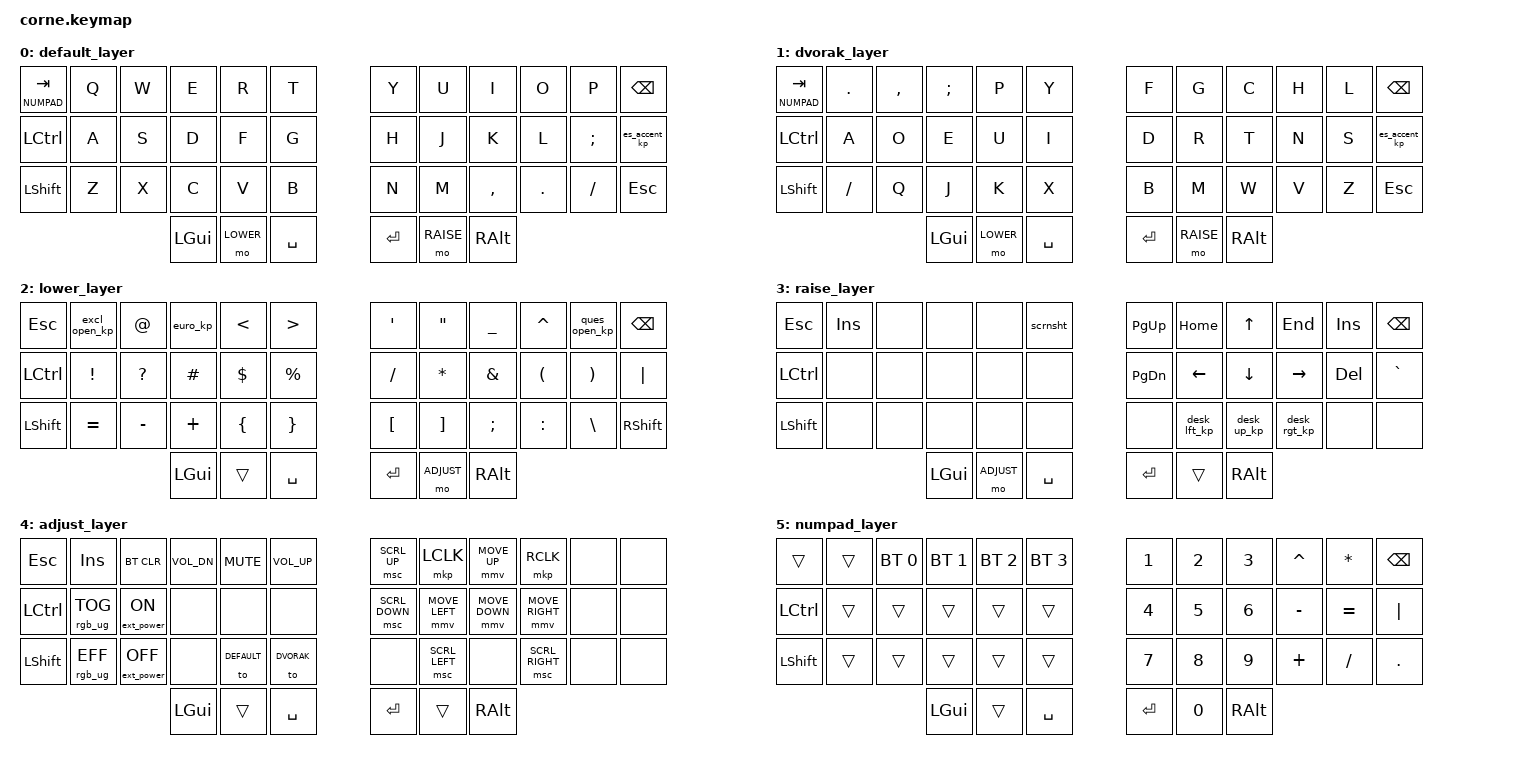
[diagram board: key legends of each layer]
/*
 * Copyright (c) 2020 The ZMK Contributors
 *
 * SPDX-License-Identifier: MIT
 */

#include <behaviors.dtsi>
#include <dt-bindings/zmk/keys.h>
#include <dt-bindings/zmk/bt.h>
#include <dt-bindings/zmk/matrix_transform.h>
#include <dt-bindings/zmk/outputs.h>
#include <dt-bindings/zmk/rgb.h>
#include <dt-bindings/zmk/pointing.h>

/* LAYERS */

#define DEFAULT 0
#define DVORAK  1
#define LOWER   2
#define RAISE   3
#define ADJUST  4
#define NUMPAD  5


/* MACROS */
#define ES_NTIL SEMI
#define ES_TILD SQT
#define ES_LT RS(COMMA)
#define ES_GT TILDE

#define OP_TERM &kp LC(LG(LA(SLASH))) // open terminal iTerm2 in current directory for MacOS

/ {
        
        macros {
             scrnsht: scrnsht {
                label = "ZM_SCREENSHOOT_KP";
                compatible = "zmk,behavior-macro";
                #binding-cells = <0>;
                wait-ms = <0>;
                tap-ms = <10>;
                bindings
                        = <&macro_press &kp LSHFT &kp LGUI>
                        , <&macro_tap &kp N4>
                        , <&macro_release &kp LSHFT &kp LGUI>
                        ;
              };


              euro_kp: euro_kp {
                label = "ZM_EURO_KP";
                compatible = "zmk,behavior-macro";
                #binding-cells = <0>;
                wait-ms = <0>;
                tap-ms = <10>;
                bindings
                        = <&macro_press &kp LALT &kp LSHFT>
                        , <&macro_tap &kp N2>
                        , <&macro_release &kp LALT &kp LSHFT>
                        ;
              };


              excl_open_kp: excl_open_kp {
                label = "ZM_EXCL_OPEN_KP";
                compatible = "zmk,behavior-macro";
                #binding-cells = <0>;
                wait-ms = <0>;
                tap-ms = <10>;
                bindings
                        = <&macro_press &kp LALT>
                        , <&macro_tap &kp N1>
                        , <&macro_release &kp LALT>
                        ;
              };


              ques_open_kp: ques_open_kp {
                label = "ZM_QUES_OPEN_KP";
                compatible = "zmk,behavior-macro";
                #binding-cells = <0>;
                wait-ms = <0>;
                tap-ms = <10>;
                bindings
                        = <&macro_press &kp LALT &kp LSHFT>
                        , <&macro_tap &kp FSLH>
                        , <&macro_release &kp LALT &kp LSHFT>
                        ;
              };

              es_accent_kp: es_accent_kp {
                label = "ZM_ES_ACCENT_KP";
                compatible = "zmk,behavior-macro";
                #binding-cells = <0>;
                wait-ms = <0>;
                tap-ms = <10>;
                bindings
                        = <&macro_press &kp LALT>
                        , <&macro_tap &kp E>
                        , <&macro_release &kp LALT>
                        ;
              };

               desk_lft_kp: desk_lft_kp {
                label = "ZM_DESK_LFT_KP";
                compatible = "zmk,behavior-macro";
                #binding-cells = <0>;
                wait-ms = <0>;
                tap-ms = <10>;
                bindings
                        = <&macro_press &kp LCTRL>
                        , <&macro_tap &kp LEFT>
                        , <&macro_release &kp LCTRL>
                        ;
              };

              desk_rgt_kp: desk_rgt_kp {
                label = "ZM_DESK_RGT_KP";
                compatible = "zmk,behavior-macro";
                #binding-cells = <0>;
                wait-ms = <0>;
                tap-ms = <10>;
                bindings
                        = <&macro_press &kp LCTRL>
                        , <&macro_tap &kp RIGHT>
                        , <&macro_release &kp LCTRL>
                        ;
              };

              desk_up_kp: desk_up_kp {
                label = "ZM_DESK_UP_KP";
                compatible = "zmk,behavior-macro";
                #binding-cells = <0>;
                wait-ms = <0>;
                tap-ms = <10>;
                bindings
                        = <&macro_press &kp LCTRL>
                        , <&macro_tap &kp UP>
                        , <&macro_release &kp LCTRL>
                        ;
              };
              
        };
        
        
        keymap {
                compatible = "zmk,keymap";

                default_layer {
 /*
 * QWERTY
 * ,------+------+------+------+------+------|                    |------+------+------+------+------+------|
 * |TABNUM|   Q  |   W  |   E  |   R  |   T  |                    |   Y  |   U  |   I  |   O  |   P  |BCKSPC|
 * |------+------+------+------+------+------|                    |------+------+------+------+------+------|
 * | CTRL |   A  |   S  |   D  |   F  |   G  |                    |   H  |   J  |   K  |   L  |  ;:  |   ´  |
 * |------+------+------+------+------+------|                    |------+------+------+------+------+------|
 * | SHFT |   Z  |   X  |   C  |   V  |   B  |                    |   N  |   M  |   ,  |   .  |   /  | ESC  |
 * `-----------------------------------------|                    |-----------------------------------------'
 *                    | LGUI | LOWER | Space |                    | Enter | RAISE | RALT |
 *                    `----------------------'                    '----------------------'
 */

                        bindings = <
   &lt NUMPAD TAB   &kp Q &kp W &kp E &kp R  &kp T           &kp Y &kp U  &kp I      &kp O    &kp P     &kp BSPC
   &kp LCTRL        &kp A &kp S &kp D &kp F  &kp G           &kp H &kp J  &kp K      &kp L    &kp SEMI  &es_accent_kp
   &kp LSHFT        &kp Z &kp X &kp C &kp V  &kp B           &kp N &kp M  &kp COMMA  &kp DOT  &kp FSLH  &kp ESC
                          &kp LGUI &mo LOWER &kp SPACE      &kp RET &mo RAISE &kp RALT
                        >;
                };

                dvorak_layer {
 /*
 * DVORAK
 * ,------+------+------+------+------+------|                    |------+------+------+------+------+------|
 * |TABNUM|   .  |   ,  |  ;:  |   P  |   Y  |                    |   F  |   G  |   C  |   H  |   L  |BCKSPC|
 * |------+------+------+------+------+------|                    |------+------+------+------+------+------|
 * | CTRL |   A  |   O  |   E  |   U  |   I  |                    |   D  |   R  |   T  |   N  |   S  |   ´  |
 * |------+------+------+------+------+------|                    |------+------+------+------+------+------|
 * | SHFT |   /  |   Q  |   J  |   K  |   X  |                    |   B  |   M  |   W  |   V  |   Z  | ESC  |
 * `-----------------------------------------|                    |-----------------------------------------'
 *                    | LGUI | LOWER | Space |                    | Enter | RAISE | RALT |
 *                    `----------------------'                    '----------------------'
 */

                        bindings = <
   &lt NUMPAD TAB   &kp DOT  &kp COMMA &kp SEMI &kp P  &kp Y       &kp F &kp G  &kp C  &kp H  &kp L  &kp BSPC
   &kp LCTRL        &kp A    &kp O     &kp E    &kp U  &kp I       &kp D &kp R  &kp T  &kp N  &kp S  &es_accent_kp
   &kp LSHFT        &kp FSLH &kp Q     &kp J    &kp K  &kp X       &kp B &kp M  &kp W  &kp V  &kp Z  &kp ESC
                                 &kp LGUI &mo LOWER &kp SPACE     &kp RET &mo RAISE &kp RALT
                        >;
                };


                lower_layer {
 /* LOWER
 * ,-----------------------------------------.                    ,-----------------------------------------.
 * |  ESC |   ¡  |   @  |   €  |   <  |   >  |                    |   '  |   "  |   _  |   ^  |   ¿  | Bspc |
 * |------+------+------+------+------+------|                    |------+------+------+------+------+------|
 * | LCTR |   !  |   ?  |   #  |   $  |   %  |                    |   /  |   *  |   &  |   (  |   )  |   |  |
 * |------+------+------+------+------+------|                    |------+------+------+------+------+------|
 * | SHFT |  =   |  -   |  +   |   {  |   }  |                    |   [  |   ]  |   ;  |   :  |   \  | Shift|
 * `-----------------------------------------|                    |-----------------------------------------'
 *                    | LGUI | LOWER | Space |                    | Enter | RAISE | RAlt |
 *                    `----------------------'                    '----------------------'
 */


                        bindings = <
   &kp ESC    &excl_open_kp  &kp AT       &euro_kp  &kp LT  &kp GT          &kp SQT   &kp DQT   &kp UNDER     &kp CARET &ques_open_kp &kp BSPC
   &kp LCTRL  &kp EXCL       &kp QUESTION &kp HASH  &kp DLLR &kp PERCENT    &kp SLASH &kp STAR  &kp AMPS      &kp LPAR  &kp RPAR      &kp PIPE
   &kp LSHFT  &kp EQUAL      &kp MINUS    &kp PLUS  &kp LBRC &kp RBRC       &kp LBKT  &kp RBKT  &kp SEMICOLON &kp COLON &kp BSLH      &kp RSHFT
                             &kp LGUI     &trans       &kp SPACE            &kp RET  &mo ADJUST   &kp RALT
                        >;
                };

                raise_layer {
 /* RAISE
 * ,-----------------------------------------.                    ,-----------------------------------------.
 * |  ESC |  INS |      |      |      |SCRSHT|                    |  P UP| HOME |  UP  | END  |INSERT| Bspc |
 * |------+------+------+------+------+------|                    |------+------+------+------+------+------|
 * | LCTR |      |      |      |      |      |                    |  P DW| LFT  | DOWN | RGHT | DEL  |   §  |
 * |------+------+------+------+------+------|                    |------+------+------+------+------+------|
 * | SHFT |      |      |      |      |      |                    |      |DSKLFT|DSKUP |DSKRGT|      |      |
 * `-----------------------------------------|                    |-----------------------------------------'
 *                    | LGUI | ADJUST| Space |                    | Enter | RAISE | RAlt |
 *                    `----------------------'                    '----------------------'
 */

                        bindings = <
   &kp ESC   &kp INS  &none   &none   &none   &scrnsht      &kp PAGE_UP   &kp HOME &kp UP   &kp END   &kp INSERT &kp BSPC
   &kp LCTRL &none    &none   &none   &none   &none         &kp PAGE_DOWN &kp LEFT &kp DOWN &kp RIGHT &kp DELETE &kp GRAVE
   &kp LSHFT &none    &none   &none   &none   &none         &none         &desk_lft_kp    &desk_up_kp    &desk_rgt_kp     &none      &none
                    	&kp LGUI &mo ADJUST   &kp SPACE      &kp RET   &trans    &kp RALT
                        >;
                };

                adjust_layer {
/* ADJUST
 * ,-----------------------------------------.                    ,-----------------------------------------.
 * |  ESC | INS  |BT CLR|VOLDWN| MUTE |VOLUP |                    | SCRUP|MC LFT| MOUUP|MC RGT|      |      |
 * |------+------+------+------+------+------|                    |------+------+------+------+------+------|
 * | LCTR |UG TOG|      |      |      |      |                    |SCRDWN|MOULFT|MOUDWN|MOURGH|      |      |
 * |------+------+------+------+------+------|                    |------+------+------+------+------+------|
 * | SHFT |UG EFF|      |      | QWERT|DVORAK|                    |      |SCRLFT|      |SCRRGT|      |      |
 * `-----------------------------------------|                    |-----------------------------------------'
 *                    | LGUI |       | Space |                    | Enter |       | RAlt |
 *                    `----------------------'                    '----------------------'
 */
                        bindings = <
   &kp ESC     &kp INS       &bt BT_CLR   &kp C_VOL_DN  &kp K_MUTE  &kp C_VOL_UP        &msc SCRL_UP     &mkp LCLK       &mmv MOVE_UP     &mkp RCLK        &none     &none
   &kp LCTRL   &rgb_ug RGB_TOG    &ext_power EP_ON   &none         &none       &none               &msc SCRL_DOWN   &mmv MOVE_LEFT  &mmv MOVE_DOWN   &mmv MOVE_RIGHT  &none     &none
   &kp LSHFT   &rgb_ug RGB_EFF    &ext_power EP_OFF  &none         &to DEFAULT &to DVORAK          &none            &msc SCRL_LEFT  &none            &msc SCRL_RIGHT  &none     &none
                                        &kp LGUI    &trans   &kp SPACE                     &kp RET   &trans    &kp RALT
                        >;
                };

                numpad_layer {
/* NUMPAD
 * ,-----------------------------------------.                    ,-----------------------------------------.
 * |      |      | BT 0 | BT 1 | BT 2 | BT 3 |                    |   1  |   2  |   3  |   ^  |   *  | Bspc |
 * |------+------+------+------+------+------|                    |------+------+------+------+------+------|
 * | LCTR |      |      |      |      |      |                    |   4  |   5  |   6  |   -  |   =  |   |  |
 * |------+------+------+------+------+------|                    |------+------+------+------+------+------|
 * | SHFT |      |      |      |      |      |                    |   7  |   8  |   9  |   +  |   /  |   .  |
 * `-----------------------------------------|                    |-----------------------------------------'
 *                    | LGUI |       | Space |                    | Enter |   0   | RAlt |
 *                    `----------------------'                    '----------------------'
 */

                        bindings = <
   &trans    &trans   &bt BT_SEL 0 &bt BT_SEL 1   &bt BT_SEL 2   &bt BT_SEL 3      &kp N1 &kp N2 &kp N3 &kp CARET &kp STAR  &kp BSPC
   &kp LCTRL &trans   &trans &trans   &trans   &trans                          &kp N4 &kp N5 &kp N6 &kp MINUS &kp EQUAL &kp PIPE
   &kp LSHFT &trans   &trans &trans   &trans   &trans                              &kp N7 &kp N8 &kp N9 &kp PLUS  &kp SLASH &kp DOT
                    	     &kp LGUI &trans   &kp SPACE                           &kp RET   &kp N0    &kp RALT
                        >;
                };
        };
};
